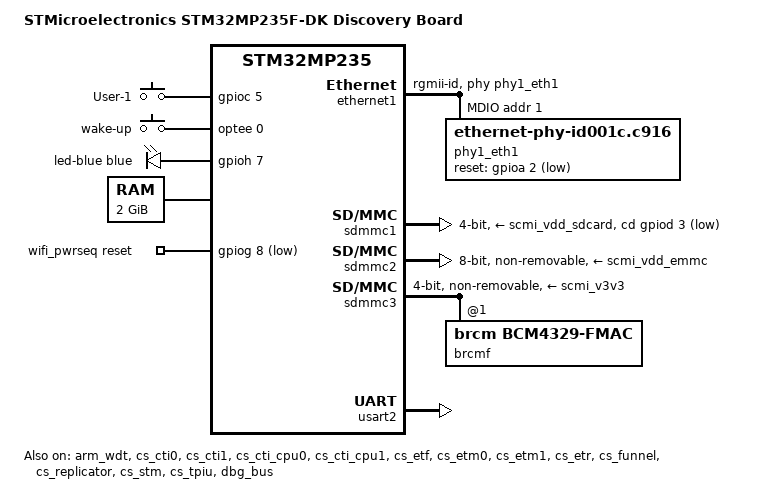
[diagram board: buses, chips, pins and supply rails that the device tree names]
// SPDX-License-Identifier: (GPL-2.0-only OR BSD-3-Clause)
/*
 * Copyright (C) STMicroelectronics 2025 - All Rights Reserved
 * Author: Amelie Delaunay <amelie.delaunay@foss.st.com> for STMicroelectronics.
 */

/dts-v1/;

#include <dt-bindings/gpio/gpio.h>
#include <dt-bindings/input/input.h>
#include <dt-bindings/leds/common.h>
#include "stm32mp235.dtsi"
#include "stm32mp23xf.dtsi"
#include "stm32mp25-pinctrl.dtsi"
#include "stm32mp25xxak-pinctrl.dtsi"
#include "stm32mp235f-dk-resmem.dtsi"

/ {
	model = "STMicroelectronics STM32MP235F-DK Discovery Board";
	compatible = "st,stm32mp235f-dk", "st,stm32mp235";

	aliases {
		ethernet0 = &ethernet1;
		serial0 = &usart2;
	};

	chosen {
		stdout-path = "serial0:115200n8";
	};

	gpio-keys {
		compatible = "gpio-keys";

		button-user-1 {
			label = "User-1";
			linux,code = <BTN_1>;
			gpios = <&gpioc 5 GPIO_ACTIVE_HIGH>;
			status = "okay";
		};

		button-user-2 {
			label = "User-2";
			linux,code = <BTN_2>;
			gpios = <&gpioc 11 GPIO_ACTIVE_HIGH>;
			status = "disabled";
		};

		button-wake-up {
			label = "wake-up";
			linux,code = <KEY_WAKEUP>;
			interrupts-extended = <&optee 0>;
			wakeup-source;
			status = "okay";
		};
	};

	gpio-leds {
		compatible = "gpio-leds";

		led-blue {
			function = LED_FUNCTION_HEARTBEAT;
			color = <LED_COLOR_ID_BLUE>;
			gpios = <&gpioh 7 GPIO_ACTIVE_HIGH>;
			linux,default-trigger = "heartbeat";
			default-state = "off";
		};
	};

	memory@80000000 {
		device_type = "memory";
		reg = <0x0 0x80000000 0x0 0x80000000>;
	};

	wifi_pwrseq: wifi-pwrseq {
		compatible = "mmc-pwrseq-simple";
		reset-gpios = <&gpiog 8 GPIO_ACTIVE_LOW>;
	};
};

&arm_wdt {
	timeout-sec = <32>;
	bootph-all;
	status = "okay";
};

&bsec {
	bootph-all;
};

&cs_cti0 {
	status = "okay";
};

&cs_cti1 {
	status = "okay";
};

&cs_cti_cpu0 {
	status = "okay";
};

&cs_cti_cpu1 {
	status = "okay";
};

&cs_etf {
	status = "okay";
};

&cs_etm0 {
	status = "okay";
};

&cs_etm1 {
	status = "okay";
};

&cs_etr {
	status = "okay";
};

&cs_funnel {
	status = "okay";
};

&cs_replicator {
	status = "okay";
};

&cs_stm {
	status = "okay";
};

&cs_tpiu {
	status = "okay";
};

&dbg_bus {
	status = "okay";
};

&ethernet1 {
	pinctrl-0 = <&eth1_rgmii_pins_b>;
	pinctrl-1 = <&eth1_rgmii_sleep_pins_b>;
	pinctrl-names = "default", "sleep";
	phy-handle = <&phy1_eth1>;
	phy-mode = "rgmii-id";
	status = "okay";

	mdio {
		#address-cells = <1>;
		#size-cells = <0>;
		compatible = "snps,dwmac-mdio";
		phy1_eth1: ethernet-phy@1 {
			compatible = "ethernet-phy-id001c.c916";
			reg = <1>;
			reset-gpios = <&gpioa 2 GPIO_ACTIVE_LOW>;
			reset-assert-us = <10000>;
			reset-deassert-us = <80000>;
		};
	};
};

&gpioa {
	bootph-all;
};

&gpiob {
	bootph-all;
};

&gpioc {
	bootph-all;
};

&gpiod {
	bootph-all;
};

&gpioe {
	bootph-all;
};

&gpiof {
	bootph-all;
};

&gpiog {
	bootph-all;
};

&gpioh {
	bootph-all;
};

&gpioi {
	bootph-all;
};

&gpioz {
	bootph-all;
};

&optee {
	bootph-all;
};

&pinctrl {
	bootph-all;
};

&pinctrl_z {
	bootph-all;
};

&psci {
	bootph-all;
};

&rcc {
	bootph-all;
};

&rifsc {
	bootph-all;
};

&scmi {
	bootph-all;
};

&scmi_clk {
	bootph-all;
};

&scmi_regu {
	scmi_vddio1: regulator@0 {
		regulator-min-microvolt = <1800000>;
		regulator-max-microvolt = <3300000>;
	};
	scmi_vddcore: regulator@b {
		reg = <VOLTD_SCMI_STPMIC2_BUCK2>;
		regulator-name = "vddcore";
	};
	scmi_v1v8: regulator@e {
		reg = <VOLTD_SCMI_STPMIC2_BUCK5>;
		regulator-name = "v1v8";
	};
	scmi_v3v3: regulator@10 {
		reg = <VOLTD_SCMI_STPMIC2_BUCK7>;
		regulator-name = "v3v3";
	};
	scmi_vdd_emmc: regulator@12 {
		reg = <VOLTD_SCMI_STPMIC2_LDO2>;
		regulator-name = "vdd_emmc";
	};
	scmi_vdd3v3_usb: regulator@14 {
		reg = <VOLTD_SCMI_STPMIC2_LDO4>;
		regulator-name = "vdd3v3_usb";
	};
	scmi_v5v_hdmi: regulator@15 {
		reg = <VOLTD_SCMI_STPMIC2_LDO5>;
		regulator-name = "v5v_hdmi";
	};
	scmi_v5v_vconn: regulator@16 {
		reg = <VOLTD_SCMI_STPMIC2_LDO6>;
		regulator-name = "v5v_vconn";
	};
	scmi_vdd_sdcard: regulator@17 {
		reg = <VOLTD_SCMI_STPMIC2_LDO7>;
		regulator-name = "vdd_sdcard";
	};
};

&scmi_reset {
	bootph-all;
};

&sdmmc1 {
	pinctrl-names = "default", "opendrain", "sleep";
	pinctrl-0 = <&sdmmc1_b4_pins_b>;
	pinctrl-1 = <&sdmmc1_b4_od_pins_b>;
	pinctrl-2 = <&sdmmc1_b4_sleep_pins_a>;
	cd-gpios = <&gpiod 3 (GPIO_ACTIVE_LOW | GPIO_PULL_UP)>;
	disable-wp;
	st,neg-edge;
	bus-width = <4>;
	vmmc-supply = <&scmi_vdd_sdcard>;
	vqmmc-supply = <&scmi_vddio1>;
	sd-uhs-sdr12;
	sd-uhs-sdr25;
	sd-uhs-sdr50;
	sd-uhs-ddr50;
	sd-uhs-sdr104;
	status = "okay";
};

&sdmmc2 {
	pinctrl-names = "default", "opendrain", "sleep";
	pinctrl-0 = <&sdmmc2_b4_pins_a &sdmmc2_d47_pins_a>;
	pinctrl-1 = <&sdmmc2_b4_od_pins_a &sdmmc2_d47_pins_a>;
	pinctrl-2 = <&sdmmc2_b4_sleep_pins_a &sdmmc2_d47_sleep_pins_a>;
	non-removable;
	no-sd;
	no-sdio;
	st,neg-edge;
	bus-width = <8>;
	vmmc-supply = <&scmi_vdd_emmc>;
	vqmmc-supply = <&scmi_vddio2>;
	mmc-ddr-1_8v;
	mmc-hs200-1_8v;
	status = "okay";
};

/* Wifi */
&sdmmc3 {
	pinctrl-names = "default", "opendrain", "sleep";
	pinctrl-0 = <&sdmmc3_b4_pins_a>;
	pinctrl-1 = <&sdmmc3_b4_od_pins_a>;
	pinctrl-2 = <&sdmmc3_b4_sleep_pins_a>;
	non-removable;
	st,neg-edge;
	bus-width = <4>;
	vmmc-supply = <&scmi_v3v3>;
	mmc-pwrseq = <&wifi_pwrseq>;
	cap-power-off-card;
	cap-sdio-irq;
	#address-cells = <1>;
	#size-cells = <0>;
	status = "okay";

	brcmf: wifi@1 {
		reg = <1>;
		compatible = "brcm,bcm4329-fmac";
	};
};

&syscfg {
	bootph-all;
};

&usart2 {
	pinctrl-names = "default", "idle", "sleep";
	pinctrl-0 = <&usart2_pins_a>;
	pinctrl-1 = <&usart2_idle_pins_a>;
	pinctrl-2 = <&usart2_sleep_pins_a>;
	bootph-all;
	/delete-property/dmas;
	/delete-property/dma-names;
	status = "okay";
};

&usart2_pins_a {
	bootph-all;
	pins1 {
		bootph-all;
	};
	pins2 {
		bootph-all;
	};
};
